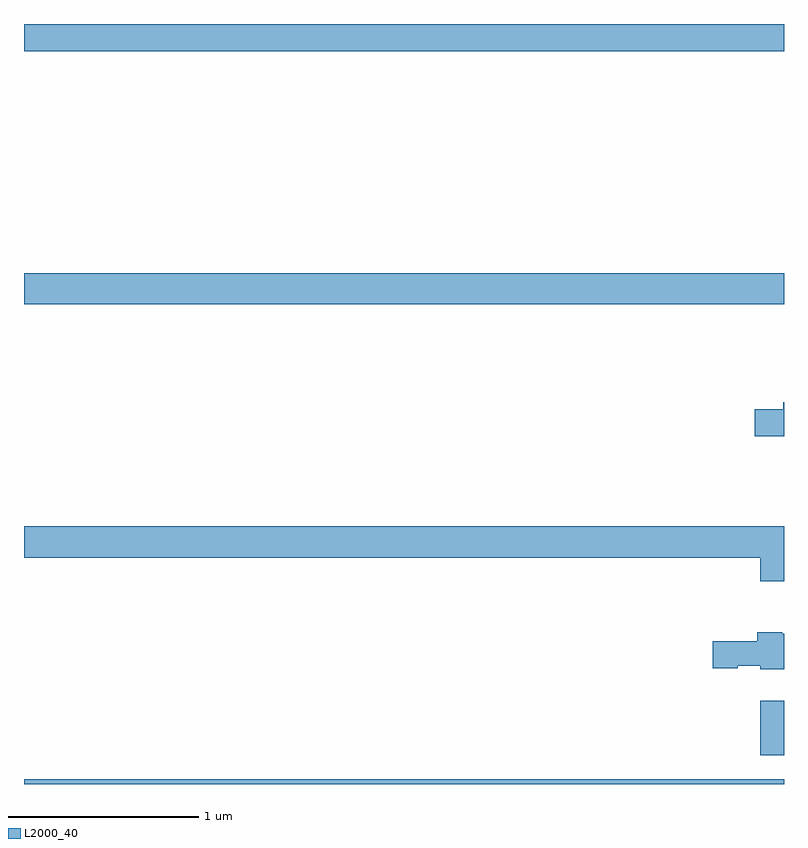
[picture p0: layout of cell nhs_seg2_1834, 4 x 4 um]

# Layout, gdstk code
import gdstk
lib = gdstk.Library(unit=1e-6, precision=1e-09)
def R(c, l, rs):  # rectangles x0, y0, x1, y1
    for r in rs: c.add(gdstk.rectangle(r[:2], r[2:], *l))
def P(c, l, *ps):  # polygons
    for p in ps: c.add(gdstk.Polygon(p, *l))
L2000_40 = (2000, 40)

nhs_seg2_1834 = lib.new_cell('nhs_seg2_1834')
R(nhs_seg2_1834, L2000_40, [(207,623.8,211,623.824), (210.875,623.952,211,624.238), (207,626.324,211,626.488), (207,627.656,211,627.8)])
P(nhs_seg2_1834, L2000_40, [(211,625.808),(210.995,625.808),(210.995,625.772),(210.846,625.772),(210.846,625.63),(211,625.63)],
  [(211,625.156),(207,625.156),(207,624.992),(210.875,624.992),(210.875,624.868),(211,624.868)],
  [(211,624.592),(210.99,624.592),(210.99,624.598),(210.86,624.598),(210.86,624.552),(210.624,624.552),(210.624,624.41),(210.756,624.41),(210.756,624.422),(210.876,624.422),(210.876,624.404),(211,624.404)])

lib.write_gds('nhs_seg2_1834.gds')
